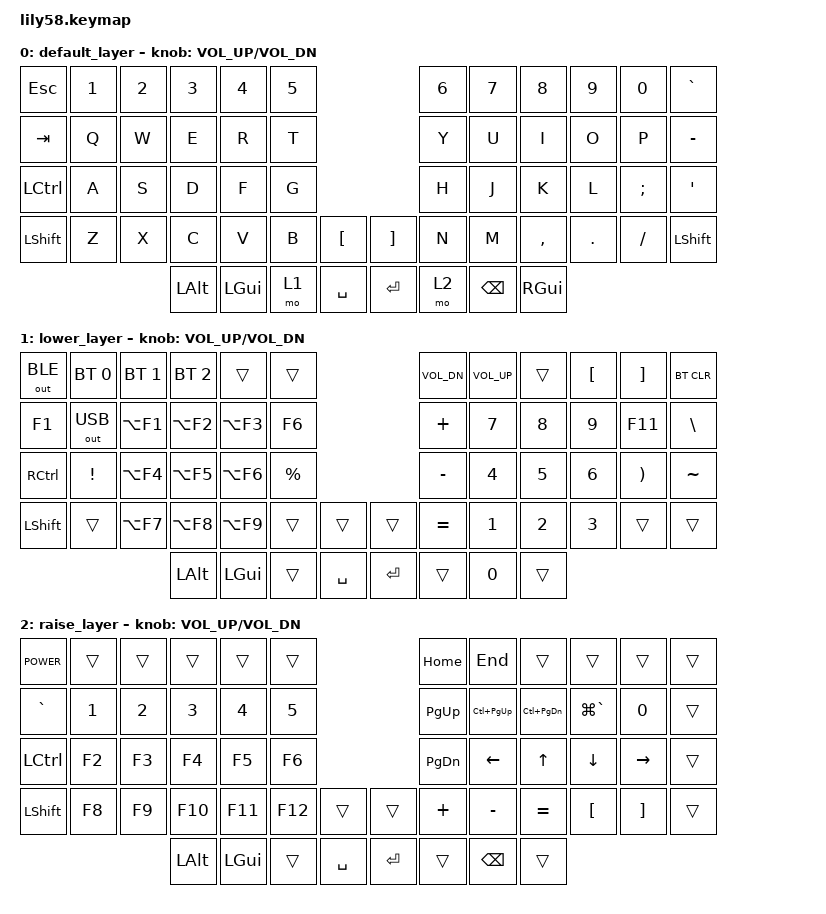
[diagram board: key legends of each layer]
/*
 * Copyright (c) 2020 The ZMK Contributors
 *
 * SPDX-License-Identifier: MIT
 */

#include <behaviors.dtsi>
#include <dt-bindings/zmk/keys.h>
#include <dt-bindings/zmk/bt.h>
#include <dt-bindings/zmk/ext_power.h>
#include <dt-bindings/zmk/outputs.h>

/ {
    keymap {
        compatible = "zmk,keymap";

        default_layer {
// -------------------------------------------------------------------------------------------
// | ESC |  1  |  2  |  3  |  4  |  5  |             |  6  |  7  |  8  |  9  |  0  |  `  |
// | TAB |  Q  |  W  |  E  |  R  |  T  |             |  Y  |  U  |  I  |  O  |  P  |  -  |
// | CTL |  A  |  S  |  D  |  F  |  G  |             |  H  |  J  |  K  |  L  |  ;  |  '  |
// | SFT |  Z  |  X  |  C  |  V  |  B  |  [  |  |  ] |  N  |  M  |  ,  |  .  |  /  | SFT |
//                   | ALT | GUI | LWR | SPC |  | ENT | RSE | BSP | GUI |
            bindings = <
&kp ESC   &kp N1 &kp N2 &kp N3   &kp N4   &kp N5                      &kp N6 &kp N7   &kp N8    &kp N9  &kp N0   &kp GRAVE
&kp TAB   &kp Q  &kp W  &kp E    &kp R    &kp T                       &kp Y  &kp U    &kp I     &kp O   &kp P    &kp MINUS
&kp LCTRL &kp A  &kp S  &kp D    &kp F    &kp G                       &kp H  &kp J    &kp K     &kp L   &kp SEMI &kp SQT
&kp LSHFT &kp Z  &kp X  &kp C    &kp V    &kp B  &kp LBKT   &kp RBKT  &kp N  &kp M    &kp COMMA &kp DOT &kp FSLH &kp LSHFT
                        &kp LALT &kp LGUI &mo 1  &kp SPACE  &kp RET   &mo 2  &kp BSPC &kp RGUI
            >;

            sensor-bindings = <&inc_dec_kp C_VOL_UP C_VOL_DN>;
        };

        lower_layer {
// -------------------------------------------------------------------------------------------
// | BLE | BT1 | BT2 | BT3 |     |     |             | V-  | V+  |     |  [  |  ]  |BTCLR|
// | F1  | USB |AF1  |AF2  |AF3  | F6  |             |  +  |  7  |  8  |  9  | F11 |  \  |
// | CTL |  !  |AF4  |AF5  |AF6  |  %  |             |  -  |  4  |  5  |  6  |  )  |  ~  |
// | SFT |     |AF7  |AF8  |AF9  |     |     |  |    |  =  |  1  |  2  |  3  |     |     |
//                   | ALT | GUI |     | SPC |  | ENT |     |  0  |     |
            bindings = <
&out OUT_BLE &bt BT_SEL 0 &bt BT_SEL 1 &bt BT_SEL 2 &trans    &trans                       &kp C_VOL_DN &kp C_VOL_UP &trans  &kp LBKT  &kp RBKT &bt BT_CLR
&kp F1       &out OUT_USB &kp LA(F1)   &kp LA(F2)   &kp LA(F3) &kp F6                      &kp PLUS     &kp N7       &kp N8  &kp N9    &kp F11  &kp BSLH
&kp RCTRL    &kp EXCL     &kp LA(F4)   &kp LA(F5)   &kp LA(F6) &kp PRCNT                   &kp MINUS    &kp N4       &kp N5  &kp N6    &kp RPAR &kp TILDE
&kp LSHFT    &trans       &kp LA(F7)   &kp LA(F8)   &kp LA(F9) &trans    &trans   &trans  &kp EQUAL    &kp N1       &kp N2  &kp N3    &trans   &trans
                                       &kp LALT     &kp LGUI   &trans    &kp SPACE &kp RET &trans       &kp N0       &trans
            >;

            sensor-bindings = <&inc_dec_kp C_VOL_UP C_VOL_DN>;
        };

        raise_layer {
// -------------------------------------------------------------------------------------------
// | PWR |     |     |     |     |     |             | HOM | END |     |     |     |     |
// |  `  |  1  |  2  |  3  |  4  |  5  |             | PGU |C-PU |C-PD |G-`  |  0  |     |
// | CTL | F2  | F3  | F4  | F5  | F6  |             | PGD |  <  |  ^  |  v  |  >  |     |
// | SFT | F8  | F9  | F10 | F11 | F12 |     |  |    |  +  |  -  |  =  |  [  |  ]  |     |
//                   | ALT | GUI |     | SPC |  | ENT |     | BSP |     |
            bindings = <
&kp C_POWER &trans &trans &trans   &trans  &trans                       &kp HOME      &kp END          &trans            &trans       &trans    &trans
&kp GRAVE   &kp N1 &kp N2 &kp N3   &kp N4  &kp N5                       &kp PAGE_UP   &kp LC(PAGE_UP)  &kp LC(PAGE_DOWN) &kp LG(GRAVE) &kp N0   &trans
&kp LCTRL   &kp F2 &kp F3 &kp F4   &kp F5  &kp F6                       &kp PAGE_DOWN &kp LEFT         &kp UP            &kp DOWN     &kp RIGHT &trans
&kp LSHFT   &kp F8 &kp F9 &kp F10  &kp F11 &kp F12  &trans     &trans   &kp PLUS      &kp MINUS        &kp EQUAL         &kp LBKT     &kp RBKT  &trans
                          &kp LALT &kp LGUI &trans  &kp SPACE  &kp RET  &trans        &kp BSPC         &trans
            >;

            sensor-bindings = <&inc_dec_kp C_VOL_UP C_VOL_DN>;
        };
    };
};
